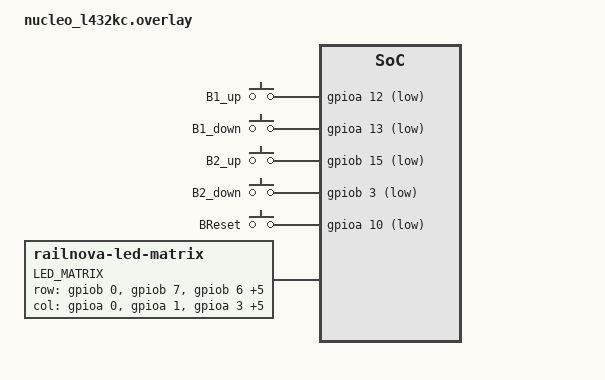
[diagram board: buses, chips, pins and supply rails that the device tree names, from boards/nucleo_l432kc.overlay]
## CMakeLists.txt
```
#-------------------------------------------------------------------------------
# Zephyr Example Application
#
# Copyright (c) 2021 Nordic Semiconductor ASA
# SPDX-License-Identifier: Apache-2.0



cmake_minimum_required(VERSION 3.13.1)
find_package(Zephyr REQUIRED HINTS $ENV{ZEPHYR_BASE})

project(app LANGUAGES C VERSION 1.0.0)

target_include_directories(app PRIVATE ${CMAKE_BINARY_DIR}/app/include src)
target_sources(app PRIVATE src/main.c)
```

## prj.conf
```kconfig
# Copyright (c) 2021 Nordic Semiconductor ASA
# SPDX-License-Identifier: Apache-2.0
#
# This file contains selected Kconfig options for the application.
CONFIG_GPIO=y
CONFIG_RN_LED_MATRIX=y
CONFIG_LOG=y
CONFIG_APP_LOG_LEVEL_DBG=y
CONFIG_SPI=n
CONFIG_I2C=n
CONFIG_MINIMAL_LIBC_RAND=y
```

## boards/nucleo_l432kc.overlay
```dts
/ {
    chosen {
        zephyr,console = &usart2;
        zephyr,shell-uart = &usart2;
        zephyr,sram = &sram0;
        zephyr,flash = &flash0;
    };

    gpio_keys {
        compatible = "gpio-keys";
        br_up: button_0 {
            label = "B1_up";
            gpios = <&gpioa 12 GPIO_ACTIVE_LOW>;
        };
        br_down: button_1 {
            label = "B1_down";
            gpios = <&gpioa 13 GPIO_ACTIVE_LOW>;
        };
        bl_up: button_2 {
            label = "B2_up";
            gpios = <&gpiob 15 GPIO_ACTIVE_LOW>;
        };
        bl_down: button_3 {
            label = "B2_down";
            gpios = <&gpiob 3 GPIO_ACTIVE_LOW>;
        };
        breset: button_4 {
            label = "BReset";
            gpios = <&gpioa 10 GPIO_ACTIVE_LOW>;
        };
    };

    led_matrix: led_matrix {
        compatible = "zephyr,railnova-led-matrix";
        status = "okay";
        label = "LED_MATRIX";
        rowgpios =  <&gpiob 0 GPIO_ACTIVE_HIGH>,
                    <&gpiob 7 GPIO_ACTIVE_HIGH>,
                    <&gpiob 6 GPIO_ACTIVE_HIGH>,
                    <&gpiob 1 GPIO_ACTIVE_HIGH>,
                    <&gpiob 5 GPIO_ACTIVE_HIGH>,
                    <&gpiob 4 GPIO_ACTIVE_HIGH>,
                    <&gpioa 8 GPIO_ACTIVE_HIGH>,
                    <&gpioa 11 GPIO_ACTIVE_HIGH>;
        colgpios =  <&gpioa 0 GPIO_ACTIVE_HIGH>,
                    <&gpioa 1 GPIO_ACTIVE_HIGH>,
                    <&gpioa 3 GPIO_ACTIVE_HIGH>,
                    <&gpioa 4 GPIO_ACTIVE_HIGH>,
                    <&gpioa 5 GPIO_ACTIVE_HIGH>,
                    <&gpioa 6 GPIO_ACTIVE_HIGH>,
                    <&gpioa 7 GPIO_ACTIVE_HIGH>,
                    <&gpioa 9 GPIO_ACTIVE_HIGH>;
    };
};

&i2c1 {
        status = "disabled";
};

&spi1 {
        status = "disabled";
};
```

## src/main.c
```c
/**
 * Copyright Railnova 2022
 * Authors : Bultot Geoffrey & Lea Vielfaure
 * Railnova Proprietary Licence
 */

#include <zephyr.h>
#include <logging/log.h>

#include "rn_LED_matrix.h"
#include "pong_game.h"

/*
 * This discribe the log level, you can choose between :
 * LOG_LEVEL_NONE, LOG_LEVEL_ERR, LOG_LEVEL_WRN, LOG_LEVEL_INF, LOG_LEVEL_DBG
 * The associated LOG_xxx() message will be printed depending on the level selected. 
 */
LOG_MODULE_REGISTER(main_example, LOG_LEVEL_DBG);

/**
 * @brief Work to perform when player A press one of his buttons. 
 *        This job set up called inside buttons_callback
 */
void cb_button_playerA_pressed(t_cursor_direction direction){
    return;
}

/**
 * @brief Work to perform when player B press one of his buttons. 
 *        This job set up called inside buttons_callback
 */
void cb_button_playerB_pressed(t_cursor_direction direction){
    return;
}

/**
 * @brief Work to perform when the reset button is pressed. 
 *        This job set up called inside buttons_callback
 */
void cb_button_reset_pressed(){
    LOG_DBG("Reset button pressed");
    reset_game();
    return;
}
```

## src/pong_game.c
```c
#include <zephyr.h>
#include <logging/log.h>
#include <stdlib.h>

#include "rn_LED_matrix.h"
#include "pong_game.h"

LOG_MODULE_REGISTER(rn_pong_game, LOG_LEVEL_DBG);

struct score score;
struct cursor_coordinate cursor_playerA;
struct cursor_coordinate cursor_playerB;
struct ball_coordinate ball;

/**
 * @brief Start new round. 
 *              - Reset ball position
 *              - Reset cursors position
 */
void start_new_round(void) {
}

/**
 * @brief Reset the game: 
 *              - Reset score
 *              - Reset ball position
 *              - Reset cursors position
 */
void reset_game(void) {
}

/**
 * @brief Game main loop
 *              - Move the ball to the next position
 *              - Handle the collisions with the limits of the matrix
 *              and the cursor
 *              - Update score
 *              - End the game when needed
 */
void pong_game(void) {
}
```

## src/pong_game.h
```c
#include <zephyr.h>

void start_new_round(void);

void reset_game(void);

void pong_game(void);
```
